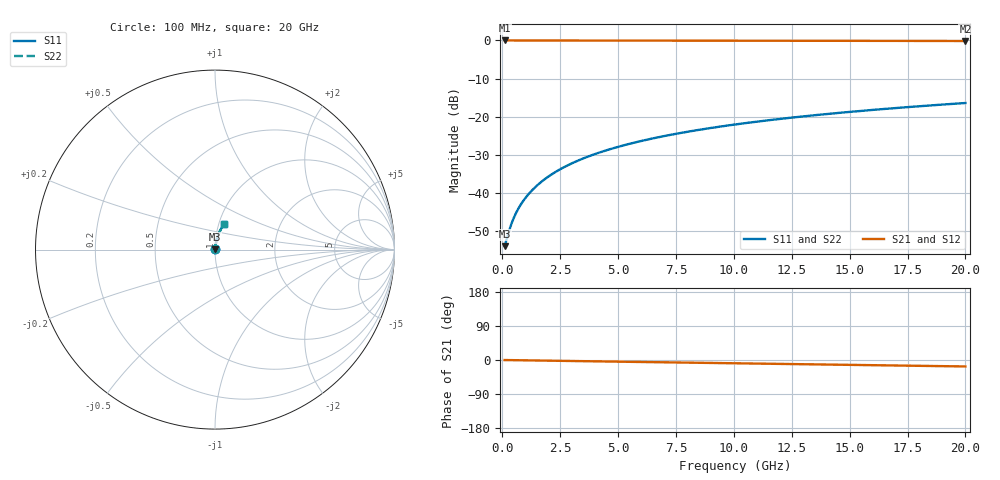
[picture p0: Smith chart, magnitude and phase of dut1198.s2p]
! Touchstone file exported from HFSS 2026.1.0
!  File:  C:/ffzhzh/LocalFiles/Ansys_Project_Files/temp_train_BSMRDL_1198_1783176419_22436.aedt
!  Generated:  10:48:12 PM Jul  4, 2026
!  Design:  BSMRDL
!  Project:  temp_train_BSMRDL_1198_1783176419_22436
! Variables:
!  h_bsmrdl = 3.29um
!  h_ox = 20um
!  h_rdl = 5um
!  h_sub = 80um
!  h_tmrdl = 5um
!  h_tsv = 80um
!  h_via = 3um
!  l_bsmrdl = 241.22um
!  l_sub = 641.22um
!  l_tmrdl = 200um
!  m_sub = 200um
!  pitch = 31.75um
!  r_tsv = 6um
!  s_tmrdl = 10um
!  w_bsmrdl = 16.43um
!  w_sub = 500um
!  w_tmrdl = 12um
!  x_tsv_center1 = 206um
!  x_tsv_center2 = 463.65um
!  x_tsv_center3 = 675.65um
!  x_tsv_center4 = 933.3um
!  x_tsv_center5 = 1145.3um
!  x_tsv_center6 = 1402.95um
# GHz S MA R 50.000000
! Terminal data exported
! Port[1] = BSM_RDL1_1_T1
! Port[2] = BSM_RDL1_1_T2
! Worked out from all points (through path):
!   200 points, 100 MHz to 20 GHz, reference 50 ohm
!   highest |S21| = -0.02 dB at 100 MHz (marker M1); lowest = -0.2 dB at 20 GHz (marker M2)
!   group delay of S21, straight-line fit = 2.36 ps
!   lowest |S11| = -54.0 dB at 100 MHz (marker M3), VSWR 1.00, Z = 50.2 + j0.0908 ohm
!   |S11| at or under -10 dB: start of sweep to end of sweep
!   |S22| runs from -54.0 to -16.4 dB; largest |S21 - S12| = 2e-15
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0.1  0.001997 27.0  0.9982 -0.1  0.9982 -0.1  0.001997 27.0
! Gamma 0 0 0 0
! Port Impedance 50 0 50 0
0.3  0.003219 54.5  0.9981 -0.3  0.9981 -0.3  0.003219 54.5
0.4  0.003961 60.8  0.998 -0.4  0.998 -0.4  0.00396 60.8
0.5  0.004722 64.9  0.998 -0.5  0.998 -0.5  0.004722 64.9
0.6  0.00549 67.9  0.9979 -0.5  0.9979 -0.5  0.00549 67.9
0.7  0.006261 70.1  0.9979 -0.6  0.9979 -0.6  0.006261 70.1
0.9  0.007808 73.3  0.9978 -0.8  0.9978 -0.8  0.007807 73.3
1.2  0.01014 76.3  0.9977 -1.1  0.9977 -1.1  0.01014 76.3
1.4  0.01171 77.6  0.9977 -1.2  0.9977 -1.2  0.01171 77.6
1.7  0.01406 79.0  0.9976 -1.5  0.9976 -1.5  0.01406 79.0
2.2  0.01801 80.4  0.9974 -1.9  0.9974 -1.9  0.01801 80.4
2.8  0.02277 81.2  0.9972 -2.5  0.9972 -2.5  0.02277 81.2
3.5  0.02831 81.5  0.9969 -3.1  0.9969 -3.1  0.02831 81.5
4.2  0.03383 81.5  0.9966 -3.7  0.9966 -3.7  0.03383 81.5
5  0.04012 81.2  0.9961 -4.4  0.9961 -4.4  0.04012 81.2
5.9  0.04714 80.8  0.9956 -5.2  0.9956 -5.2  0.04714 80.8
6.8  0.05411 80.3  0.995 -5.9  0.995 -5.9  0.05411 80.3
8.3  0.06561 79.3  0.9938 -7.2  0.9938 -7.2  0.06561 79.3
10.1  0.07922 77.9  0.9923 -8.8  0.9923 -8.8  0.07922 77.9
13.4  0.1037 75.5  0.9892 -11.5  0.9892 -11.5  0.1037 75.5
16.7  0.1275 72.9  0.9857 -14.3  0.9857 -14.3  0.1275 72.9
20  0.1509 70.4  0.9818 -17.0  0.9818 -17.0  0.1509 70.4
